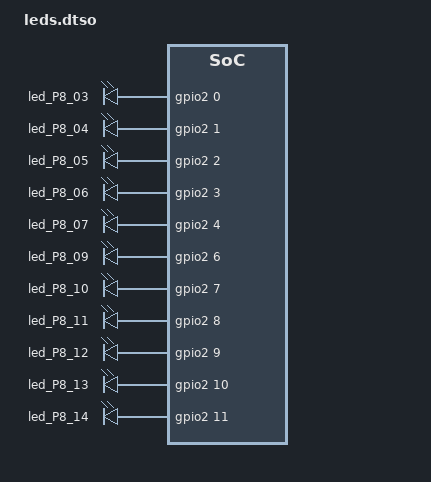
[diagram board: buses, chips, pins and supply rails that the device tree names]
// SPDX-License-Identifier: (GPL-2.0 OR MIT)
/* Copyright (c) 2023 Microchip Technology Inc */

/dts-v1/;
/plugin/;

&{/} {
	leds {
		compatible = "gpio-leds";

		led_P8_03 {
			status = "okay";
			gpios = <&gpio2 0 0>;
			default-state = "on";
		};

		led_P8_04 {
			status = "okay";
			gpios = <&gpio2 1 0>;
			default-state = "on";
		};

		led_P8_05 {
			status = "okay";
			gpios = <&gpio2 2 0>;
			default-state = "on";
		};

		led_P8_06 {
			status = "okay";
			gpios = <&gpio2 3 0>;
			linux,default-trigger = "heartbeat";
			default-state = "on";
		};

		led_P8_07 {
			status = "okay";
			gpios = <&gpio2 4 0>;
			default-state = "off";
		};

		led_P8_09 {
			status = "okay";
			gpios = <&gpio2 6 0>;
			default-state = "off";
		};

		led_P8_10 {
			status = "okay";
			gpios = <&gpio2 7 0>;
			default-state = "off";
		};

		led_P8_11 {
			status = "okay";
			gpios = <&gpio2 8 0>;
			default-state = "off";
		};

		led_P8_12 {
			status = "okay";
			gpios = <&gpio2 9 0>;
			default-state = "off";
		};

		led_P8_13 {
			status = "okay";
			gpios = <&gpio2 10 0>;
			default-state = "off";
		};

		led_P8_14 {
			status = "okay";
			gpios = <&gpio2 11 0>;
			default-state = "off";
		};
	};
};
